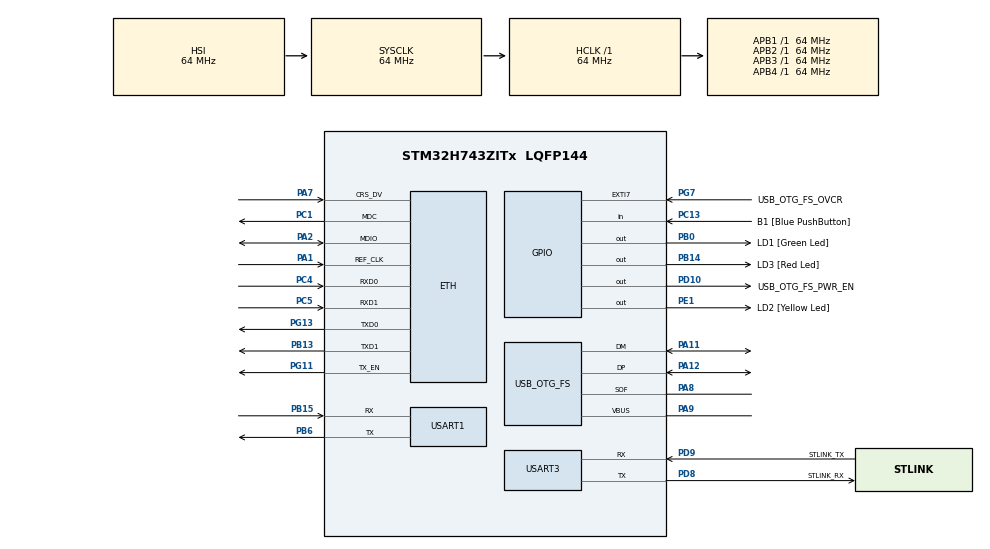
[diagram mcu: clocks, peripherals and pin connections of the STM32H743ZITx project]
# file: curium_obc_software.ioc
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Dma.Request0=USART1_RX
Dma.Request1=USART1_TX
Dma.USART1_RX.0.Direction=DMA_PERIPH_TO_MEMORY
Dma.USART1_RX.0.EventEnable=DISABLE
Dma.USART1_RX.0.FIFOMode=DMA_FIFOMODE_DISABLE
Dma.USART1_RX.0.Instance=DMA1_Stream0
Dma.USART1_RX.0.MemDataAlignment=DMA_MDATAALIGN_BYTE
Dma.USART1_RX.0.MemInc=DMA_MINC_ENABLE
Dma.USART1_RX.0.Mode=DMA_NORMAL
Dma.USART1_RX.0.PeriphDataAlignment=DMA_PDATAALIGN_BYTE
Dma.USART1_RX.0.PeriphInc=DMA_PINC_DISABLE
Dma.USART1_RX.0.Polarity=HAL_DMAMUX_REQ_GEN_RISING
Dma.USART1_RX.0.Priority=DMA_PRIORITY_LOW
Dma.USART1_RX.0.RequestNumber=1
Dma.USART1_RX.0.SignalID=NONE
Dma.USART1_RX.0.SyncEnable=DISABLE
Dma.USART1_RX.0.SyncPolarity=HAL_DMAMUX_SYNC_NO_EVENT
Dma.USART1_RX.0.SyncRequestNumber=1
Dma.USART1_RX.0.SyncSignalID=NONE
Dma.USART1_TX.1.Direction=DMA_MEMORY_TO_PERIPH
Dma.USART1_TX.1.EventEnable=DISABLE
Dma.USART1_TX.1.FIFOMode=DMA_FIFOMODE_DISABLE
Dma.USART1_TX.1.Instance=DMA1_Stream1
Dma.USART1_TX.1.MemDataAlignment=DMA_MDATAALIGN_BYTE
Dma.USART1_TX.1.MemInc=DMA_MINC_ENABLE
Dma.USART1_TX.1.Mode=DMA_NORMAL
Dma.USART1_TX.1.PeriphDataAlignment=DMA_PDATAALIGN_BYTE
Dma.USART1_TX.1.PeriphInc=DMA_PINC_DISABLE
Dma.USART1_TX.1.Polarity=HAL_DMAMUX_REQ_GEN_RISING
Dma.USART1_TX.1.Priority=DMA_PRIORITY_LOW
Dma.USART1_TX.1.RequestNumber=1
Dma.USART1_TX.1.SignalID=NONE
Dma.USART1_TX.1.SyncEnable=DISABLE
Dma.USART1_TX.1.SyncPolarity=HAL_DMAMUX_SYNC_NO_EVENT
Dma.USART1_TX.1.SyncRequestNumber=1
Dma.USART1_TX.1.SyncSignalID=NONE
ETH.MediaInterface=HAL_ETH_RMII_MODE
FREERTOS.Mutexes01=wdg_mtx,Static,wdg_mtx_ctrl_block
FREERTOS.Tasks01=defaultTask,24,128,StartDefaultTask,Default,NULL,Dynamic,NULL,NULL;blink_led1,47,128,Blink_led1_entry,Default,NULL,Dynamic,NULL,NULL;blink_led2,31,128,Blink_led2_entry,Default,NULL,Dynamic,NULL,NULL;wdg_task,10,128,start_wdg_task,Default,NULL,Static,wdg_task_buffer,wdg_task_ctrl_block;ecss_task,24,512,start_ecss_task,Default,NULL,Static,ecss_task_buffer,ecss_task_ctrl_block
FREERTOS.configUSE_NEWLIB_REENTRANT=1
IWDG1.Prescaler=IWDG_PRESCALER_256
Mcu.Family=STM32H7
Mcu.Name=STM32H743ZITx
Mcu.Package=LQFP144
NVIC.DMA1_Stream0_IRQn=true\:5\:0\:false\:false\:true\:true\:false\:true\:true
NVIC.DMA1_Stream1_IRQn=true\:5\:0\:false\:false\:true\:true\:false\:true\:true
NVIC.PriorityGroup=NVIC_PRIORITYGROUP_4
NVIC.TIM1_UP_IRQn=true\:15\:0\:false\:false\:true\:false\:false\:true\:true
NVIC.TimeBase=TIM1_UP_IRQn
NVIC.TimeBaseIP=TIM1
NVIC.USART1_IRQn=true\:5\:0\:false\:false\:true\:true\:true\:true\:true
PA1.Mode=RMII
PA1.Signal=ETH_REF_CLK
PA11.Mode=Device_Only
PA11.Signal=USB_OTG_FS_DM
PA12.Mode=Device_Only
PA12.Signal=USB_OTG_FS_DP
PA2.Mode=RMII
PA2.Signal=ETH_MDIO
PA7.Mode=RMII
PA7.Signal=ETH_CRS_DV
PA8.Mode=Activate_SOF_FS
PA8.Signal=USB_OTG_FS_SOF
PA9.Mode=Activate_VBUS
PA9.Signal=USB_OTG_FS_VBUS
PB0.GPIO_Label=LD1 [Green Led]
PB0.Signal=GPIO_Output
PB13.Mode=RMII
PB13.Signal=ETH_TXD1
PB14.GPIO_Label=LD3 [Red Led]
PB14.Signal=GPIO_Output
PB15.Mode=Asynchronous
PB15.Signal=USART1_RX
PB6.Mode=Asynchronous
PB6.Signal=USART1_TX
PC1.Mode=RMII
PC1.Signal=ETH_MDC
PC13.GPIO_Label=B1 [Blue PushButton]
PC13.Signal=GPIO_Input
PC14-OSC32_IN\ (OSC32_IN).Mode=LSE-External-Oscillator
PC14-OSC32_IN\ (OSC32_IN).Signal=RCC_OSC32_IN
PC15-OSC32_OUT\ (OSC32_OUT).Mode=LSE-External-Oscillator
PC15-OSC32_OUT\ (OSC32_OUT).Signal=RCC_OSC32_OUT
PC4.Mode=RMII
PC4.Signal=ETH_RXD0
PC5.Mode=RMII
PC5.Signal=ETH_RXD1
PD10.GPIO_Label=USB_OTG_FS_PWR_EN
PD10.Signal=GPIO_Output
PD8.GPIO_Label=STLINK_RX
PD8.Mode=Asynchronous
PD8.Signal=USART3_TX
PD9.GPIO_Label=STLINK_TX
PD9.Mode=Asynchronous
PD9.Signal=USART3_RX
PE1.GPIO_Label=LD2 [Yellow Led]
PE1.Signal=GPIO_Output
PG11.Mode=RMII
PG11.Signal=ETH_TX_EN
PG13.Mode=RMII
PG13.Signal=ETH_TXD0
PG7.GPIO_Label=USB_OTG_FS_OVCR
PG7.Signal=GPXTI7
PH0-OSC_IN\ (PH0).Mode=HSE-External-Clock-Source
PH0-OSC_IN\ (PH0).Signal=RCC_OSC_IN
PH1-OSC_OUT\ (PH1).Signal=RCC_OSC_OUT
ProjectManager.HeapSize=0x200
ProjectManager.StackSize=0x400
ProjectManager.TargetToolchain=STM32CubeIDE
RCC.ADCFreq_Value=16125000
RCC.APB1Freq_Value=64000000
RCC.APB2Freq_Value=64000000
RCC.APB3Freq_Value=64000000
RCC.APB4Freq_Value=64000000
RCC.CortexFreq_Value=64000000
RCC.DIVM1=1
RCC.DIVN1=24
RCC.DIVQ1=4
RCC.HCLKFreq_Value=64000000
RCC.HSE_VALUE=8000000
RCC.PLLFRACN=0
RCC.PWR_Regulator_Voltage_Scale=PWR_REGULATOR_VOLTAGE_SCALE2
RCC.SYSCLKFreq_VALUE=64000000
RCC.USBFreq_Value=48000000
USART1.VirtualMode-Asynchronous=VM_ASYNC
USART3.VirtualMode-Asynchronous=VM_ASYNC
USB_OTG_FS.VirtualMode=Device_Only
VP_FREERTOS_VS_CMSIS_V2.Mode=CMSIS_V2
VP_IWDG1_VS_IWDG.Mode=IWDG_Activate
VP_SYS_VS_tim1.Mode=TIM1
board=NUCLEO-H743ZI2

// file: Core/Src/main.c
/* USER CODE BEGIN Header */
/**
  ******************************************************************************
  * @file           : main.c
  * @brief          : Main program body
  ******************************************************************************
  * @attention
  *
  * Copyright (c) 2023 STMicroelectronics.
  * All rights reserved.
  *
  * This software is licensed under terms that can be found in the LICENSE file
  * in the root directory of this software component.
  * If no LICENSE file comes with this software, it is provided AS-IS.
  *
  ******************************************************************************
  */
/* USER CODE END Header */
#include "main.h"
#include "string.h"
#include "cmsis_os.h"

/* USER CODE BEGIN Includes */

#include "queue.h"
#include "conf.h"
#include "watchdog.h"
#include "error.h"
#include "communication.h"

/* USER CODE END Includes */

typedef StaticTask_t osStaticThreadDef_t;
typedef StaticSemaphore_t osStaticMutexDef_t;

#if defined ( __ICCARM__ ) /*!< IAR Compiler */
#pragma location=0x30000000
ETH_DMADescTypeDef  DMARxDscrTab[ETH_RX_DESC_CNT]; /* Ethernet Rx DMA Descriptors */
#pragma location=0x30000200
ETH_DMADescTypeDef  DMATxDscrTab[ETH_TX_DESC_CNT]; /* Ethernet Tx DMA Descriptors */

#elif defined ( __CC_ARM )  /* MDK ARM Compiler */

__attribute__((at(0x30000000))) ETH_DMADescTypeDef  DMARxDscrTab[ETH_RX_DESC_CNT]; /* Ethernet Rx DMA Descriptors */
__attribute__((at(0x30000200))) ETH_DMADescTypeDef  DMATxDscrTab[ETH_TX_DESC_CNT]; /* Ethernet Tx DMA Descriptors */

#elif defined ( __GNUC__ ) /* GNU Compiler */
ETH_DMADescTypeDef DMARxDscrTab[ETH_RX_DESC_CNT] __attribute__((section(".RxDecripSection"))); /* Ethernet Rx DMA Descriptors */
ETH_DMADescTypeDef DMATxDscrTab[ETH_TX_DESC_CNT] __attribute__((section(".TxDecripSection")));   /* Ethernet Tx DMA Descriptors */

#endif

ETH_TxPacketConfig TxConfig;

ETH_HandleTypeDef heth;

IWDG_HandleTypeDef hiwdg1;

UART_HandleTypeDef huart1;
UART_HandleTypeDef huart3;
DMA_HandleTypeDef hdma_usart1_rx;
DMA_HandleTypeDef hdma_usart1_tx;

PCD_HandleTypeDef hpcd_USB_OTG_FS;

/* Definitions for defaultTask */
osThreadId_t defaultTaskHandle;
const osThreadAttr_t defaultTask_attributes = {
  .name = "defaultTask",
  .stack_size = 128 * 4,
  .priority = (osPriority_t) osPriorityNormal,
};
/* Definitions for blink_led1 */
osThreadId_t blink_led1Handle;
const osThreadAttr_t blink_led1_attributes = {
  .name = "blink_led1",
  .stack_size = 128 * 4,
  .priority = (osPriority_t) osPriorityHigh7,
};
/* Definitions for blink_led2 */
osThreadId_t blink_led2Handle;
const osThreadAttr_t blink_led2_attributes = {
  .name = "blink_led2",
  .stack_size = 128 * 4,
  .priority = (osPriority_t) osPriorityNormal7,
};
/* Definitions for wdg_task */
osThreadId_t wdg_taskHandle;
uint32_t wdg_task_buffer[ 128 ];
osStaticThreadDef_t wdg_task_ctrl_block;
const osThreadAttr_t wdg_task_attributes = {
  .name = "wdg_task",
  .cb_mem = &wdg_task_ctrl_block,
  .cb_size = sizeof(wdg_task_ctrl_block),
  .stack_mem = &wdg_task_buffer[0],
  .stack_size = sizeof(wdg_task_buffer),
  .priority = (osPriority_t) osPriorityLow2,
};
/* Definitions for ecss_task */
osThreadId_t ecss_taskHandle;
uint32_t ecss_task_buffer[ 512 ];
osStaticThreadDef_t ecss_task_ctrl_block;
const osThreadAttr_t ecss_task_attributes = {
  .name = "ecss_task",
  .cb_mem = &ecss_task_ctrl_block,
  .cb_size = sizeof(ecss_task_ctrl_block),
  .stack_mem = &ecss_task_buffer[0],
  .stack_size = sizeof(ecss_task_buffer),
  .priority = (osPriority_t) osPriorityNormal,
};
/* Definitions for wdg_mtx */
osMutexId_t wdg_mtxHandle;
osStaticMutexDef_t wdg_mtx_ctrl_block;
const osMutexAttr_t wdg_mtx_attributes = {
  .name = "wdg_mtx",
  .cb_mem = &wdg_mtx_ctrl_block,
  .cb_size = sizeof(wdg_mtx_ctrl_block),
};
/* USER CODE BEGIN PV */

struct watchdog hwdg;
struct wdg_rec wdg_recorder;
/* Pointer to a region in SRAM2 where watchdog reset mask is stored*/
uint8_t *wdg_rst_ptr = (uint8_t *)0x10007800;

StaticQueue_t hdlc_queue_priv;
uint8_t hdlc_queue_pool[MAX_RX_FRAMES * sizeof(struct HDLC_Frame_Struct)];
QueueHandle_t hdlc_queue;
static HDLC_Frame_Struct currentFrame = {{0}, 0};
static uint16_t currentFrameIndex = 0;

/* USER CODE END PV */

void SystemClock_Config(void);
static void MX_GPIO_Init(void);
static void MX_DMA_Init(void);
static void MX_USART3_UART_Init(void);
static void MX_USB_OTG_FS_PCD_Init(void);
static void MX_IWDG1_Init(void);
static void MX_USART1_UART_Init(void);
static void MX_ETH_Init(void);
void StartDefaultTask(void *argument);
void Blink_led1_entry(void *argument);
void Blink_led2_entry(void *argument);
void start_wdg_task(void *argument);
void start_ecss_task(void *argument);

/* USER CODE BEGIN PFP */

void print_debug_msg(const char *msg);

/* USER CODE END PFP */

int main(void)
{

  /* MCU Configuration--------------------------------------------------------*/

  /* Reset of all peripherals, Initializes the Flash interface and the Systick. */
  HAL_Init();

  /* Configure the system clock */
  SystemClock_Config();

  /* Initialize all configured peripherals */
  MX_GPIO_Init();
  MX_DMA_Init();
  MX_USART3_UART_Init();
  MX_USB_OTG_FS_PCD_Init();
  MX_IWDG1_Init();
  MX_USART1_UART_Init();
  MX_ETH_Init();
  /* USER CODE BEGIN 2 */

  HAL_UART_Receive_DMA(&huart1, &currentFrame.data[currentFrameIndex], 1);

  /* USER CODE END 2 */

  /* Init scheduler */
  osKernelInitialize();
  /* Create the mutex(es) */
  /* creation of wdg_mtx */
  wdg_mtxHandle = osMutexNew(&wdg_mtx_attributes);

  /* USER CODE BEGIN RTOS_QUEUES */
    hdlc_queue = xQueueCreateStatic(MAX_RX_FRAMES,
                                  sizeof(struct HDLC_Frame_Struct),
                                  hdlc_queue_pool,
                                  &hdlc_queue_priv);
    configASSERT(hdlc_queue);

  /* USER CODE END RTOS_QUEUES */

  /* Create the thread(s) */
  /* creation of defaultTask */
  defaultTaskHandle = osThreadNew(StartDefaultTask, NULL, &defaultTask_attributes);

  /* creation of blink_led1 */
  blink_led1Handle = osThreadNew(Blink_led1_entry, NULL, &blink_led1_attributes);

  /* creation of blink_led2 */
  blink_led2Handle = osThreadNew(Blink_led2_entry, NULL, &blink_led2_attributes);

  /* creation of wdg_task */
  wdg_taskHandle = osThreadNew(start_wdg_task, NULL, &wdg_task_attributes);

  /* creation of ecss_task */
  ecss_taskHandle = osThreadNew(start_ecss_task, NULL, &ecss_task_attributes);

  /* USER CODE BEGIN RTOS_THREADS */

  int ret = watchdog_init(&hwdg, &hiwdg1, wdg_mtxHandle, 9, &wdg_recorder,
							wdg_rst_ptr);
  if (ret) {
	  Error_Handler();
  }

  /* USER CODE END RTOS_THREADS */

  /* Start scheduler */
  osKernelStart();

  /* We should never get here as control is now taken by the scheduler */
  /* Infinite loop */
  while (1)
  {

  }
}

void SystemClock_Config(void)
{
  RCC_OscInitTypeDef RCC_OscInitStruct = {0};
  RCC_ClkInitTypeDef RCC_ClkInitStruct = {0};

  /** Supply configuration update enable
  */
  HAL_PWREx_ConfigSupply(PWR_LDO_SUPPLY);

  /** Configure the main internal regulator output voltage
  */
  __HAL_PWR_VOLTAGESCALING_CONFIG(PWR_REGULATOR_VOLTAGE_SCALE2);

  while(!__HAL_PWR_GET_FLAG(PWR_FLAG_VOSRDY)) {}

  /** Initializes the RCC Oscillators according to the specified parameters
  * in the RCC_OscInitTypeDef structure.
  */
  RCC_OscInitStruct.OscillatorType = RCC_OSCILLATORTYPE_HSI|RCC_OSCILLATORTYPE_LSI
                              |RCC_OSCILLATORTYPE_HSE;
  RCC_OscInitStruct.HSEState = RCC_HSE_BYPASS;
  RCC_OscInitStruct.HSIState = RCC_HSI_DIV1;
  RCC_OscInitStruct.HSICalibrationValue = RCC_HSICALIBRATION_DEFAULT;
  RCC_OscInitStruct.LSIState = RCC_LSI_ON;
  RCC_OscInitStruct.PLL.PLLState = RCC_PLL_ON;
  RCC_OscInitStruct.PLL.PLLSource = RCC_PLLSOURCE_HSE;
  RCC_OscInitStruct.PLL.PLLM = 1;
  RCC_OscInitStruct.PLL.PLLN = 24;
  RCC_OscInitStruct.PLL.PLLP = 2;
  RCC_OscInitStruct.PLL.PLLQ = 4;
  RCC_OscInitStruct.PLL.PLLR = 2;
  RCC_OscInitStruct.PLL.PLLRGE = RCC_PLL1VCIRANGE_3;
  RCC_OscInitStruct.PLL.PLLVCOSEL = RCC_PLL1VCOWIDE;
  RCC_OscInitStruct.PLL.PLLFRACN = 0;
  if (HAL_RCC_OscConfig(&RCC_OscInitStruct) != HAL_OK)
  {
    Error_Handler();
  }

  /** Initializes the CPU, AHB and APB buses clocks
  */
  RCC_ClkInitStruct.ClockType = RCC_CLOCKTYPE_HCLK|RCC_CLOCKTYPE_SYSCLK
                              |RCC_CLOCKTYPE_PCLK1|RCC_CLOCKTYPE_PCLK2
                              |RCC_CLOCKTYPE_D3PCLK1|RCC_CLOCKTYPE_D1PCLK1;
  RCC_ClkInitStruct.SYSCLKSource = RCC_SYSCLKSOURCE_HSI;
  RCC_ClkInitStruct.SYSCLKDivider = RCC_SYSCLK_DIV1;
  RCC_ClkInitStruct.AHBCLKDivider = RCC_HCLK_DIV1;
  RCC_ClkInitStruct.APB3CLKDivider = RCC_APB3_DIV1;
  RCC_ClkInitStruct.APB1CLKDivider = RCC_APB1_DIV1;
  RCC_ClkInitStruct.APB2CLKDivider = RCC_APB2_DIV1;
  RCC_ClkInitStruct.APB4CLKDivider = RCC_APB4_DIV1;

  if (HAL_RCC_ClockConfig(&RCC_ClkInitStruct, FLASH_LATENCY_1) != HAL_OK)
  {
    Error_Handler();
  }
}

static void MX_ETH_Init(void)
{

   static uint8_t MACAddr[6];

  heth.Instance = ETH;
  MACAddr[0] = 0x00;
  MACAddr[1] = 0x80;
  MACAddr[2] = 0xE1;
  MACAddr[3] = 0x00;
  MACAddr[4] = 0x00;
  MACAddr[5] = 0x00;
  heth.Init.MACAddr = &MACAddr[0];
  heth.Init.MediaInterface = HAL_ETH_RMII_MODE;
  heth.Init.TxDesc = DMATxDscrTab;
  heth.Init.RxDesc = DMARxDscrTab;
  heth.Init.RxBuffLen = 1524;

  if (HAL_ETH_Init(&heth) != HAL_OK)
  {
    Error_Handler();
  }

  memset(&TxConfig, 0 , sizeof(ETH_TxPacketConfig));
  TxConfig.Attributes = ETH_TX_PACKETS_FEATURES_CSUM | ETH_TX_PACKETS_FEATURES_CRCPAD;
  TxConfig.ChecksumCtrl = ETH_CHECKSUM_IPHDR_PAYLOAD_INSERT_PHDR_CALC;
  TxConfig.CRCPadCtrl = ETH_CRC_PAD_INSERT;

}

static void MX_IWDG1_Init(void)
{

  hiwdg1.Instance = IWDG1;
  hiwdg1.Init.Prescaler = IWDG_PRESCALER_256;
  hiwdg1.Init.Window = 4095;
  hiwdg1.Init.Reload = 4095;
  if (HAL_IWDG_Init(&hiwdg1) != HAL_OK)
  {
    Error_Handler();
  }

}

static void MX_USART1_UART_Init(void)
{

  huart1.Instance = USART1;
  huart1.Init.BaudRate = 115200;
  huart1.Init.WordLength = UART_WORDLENGTH_8B;
  huart1.Init.StopBits = UART_STOPBITS_1;
  huart1.Init.Parity = UART_PARITY_NONE;
  huart1.Init.Mode = UART_MODE_TX_RX;
  huart1.Init.HwFlowCtl = UART_HWCONTROL_NONE;
  huart1.Init.OverSampling = UART_OVERSAMPLING_16;
  huart1.Init.OneBitSampling = UART_ONE_BIT_SAMPLE_DISABLE;
  huart1.Init.ClockPrescaler = UART_PRESCALER_DIV1;
  huart1.AdvancedInit.AdvFeatureInit = UART_ADVFEATURE_NO_INIT;
  if (HAL_UART_Init(&huart1) != HAL_OK)
  {
    Error_Handler();
  }
  if (HAL_UARTEx_SetTxFifoThreshold(&huart1, UART_TXFIFO_THRESHOLD_1_8) != HAL_OK)
  {
    Error_Handler();
  }
  if (HAL_UARTEx_SetRxFifoThreshold(&huart1, UART_RXFIFO_THRESHOLD_1_8) != HAL_OK)
  {
    Error_Handler();
  }
  if (HAL_UARTEx_DisableFifoMode(&huart1) != HAL_OK)
  {
    Error_Handler();
  }

}

static void MX_USART3_UART_Init(void)
{

  huart3.Instance = USART3;
  huart3.Init.BaudRate = 115200;
  huart3.Init.WordLength = UART_WORDLENGTH_8B;
  huart3.Init.StopBits = UART_STOPBITS_1;
  huart3.Init.Parity = UART_PARITY_NONE;
  huart3.Init.Mode = UART_MODE_TX_RX;
  huart3.Init.HwFlowCtl = UART_HWCONTROL_NONE;
  huart3.Init.OverSampling = UART_OVERSAMPLING_16;
  huart3.Init.OneBitSampling = UART_ONE_BIT_SAMPLE_DISABLE;
  huart3.Init.ClockPrescaler = UART_PRESCALER_DIV1;
  huart3.AdvancedInit.AdvFeatureInit = UART_ADVFEATURE_NO_INIT;
  if (HAL_UART_Init(&huart3) != HAL_OK)
  {
    Error_Handler();
  }
  if (HAL_UARTEx_SetTxFifoThreshold(&huart3, UART_TXFIFO_THRESHOLD_1_8) != HAL_OK)
  {
    Error_Handler();
  }
  if (HAL_UARTEx_SetRxFifoThreshold(&huart3, UART_RXFIFO_THRESHOLD_1_8) != HAL_OK)
  {
    Error_Handler();
  }
  if (HAL_UARTEx_DisableFifoMode(&huart3) != HAL_OK)
  {
    Error_Handler();
  }

}

static void MX_USB_OTG_FS_PCD_Init(void)
{

  hpcd_USB_OTG_FS.Instance = USB_OTG_FS;
  hpcd_USB_OTG_FS.Init.dev_endpoints = 9;
  hpcd_USB_OTG_FS.Init.speed = PCD_SPEED_FULL;
  hpcd_USB_OTG_FS.Init.dma_enable = DISABLE;
  hpcd_USB_OTG_FS.Init.phy_itface = PCD_PHY_EMBEDDED;
  hpcd_USB_OTG_FS.Init.Sof_enable = ENABLE;
  hpcd_USB_OTG_FS.Init.low_power_enable = DISABLE;
  hpcd_USB_OTG_FS.Init.lpm_enable = DISABLE;
  hpcd_USB_OTG_FS.Init.battery_charging_enable = ENABLE;
  hpcd_USB_OTG_FS.Init.vbus_sensing_enable = ENABLE;
  hpcd_USB_OTG_FS.Init.use_dedicated_ep1 = DISABLE;
  if (HAL_PCD_Init(&hpcd_USB_OTG_FS) != HAL_OK)
  {
    Error_Handler();
  }

}

static void MX_DMA_Init(void)
{

  /* DMA controller clock enable */
  __HAL_RCC_DMA1_CLK_ENABLE();

  /* DMA interrupt init */
  /* DMA1_Stream0_IRQn interrupt configuration */
  HAL_NVIC_SetPriority(DMA1_Stream0_IRQn, 5, 0);
  HAL_NVIC_EnableIRQ(DMA1_Stream0_IRQn);
  /* DMA1_Stream1_IRQn interrupt configuration */
  HAL_NVIC_SetPriority(DMA1_Stream1_IRQn, 5, 0);
  HAL_NVIC_EnableIRQ(DMA1_Stream1_IRQn);

}

static void MX_GPIO_Init(void)
{
  GPIO_InitTypeDef GPIO_InitStruct = {0};

  /* GPIO Ports Clock Enable */
  __HAL_RCC_GPIOC_CLK_ENABLE();
  __HAL_RCC_GPIOH_CLK_ENABLE();
  __HAL_RCC_GPIOA_CLK_ENABLE();
  __HAL_RCC_GPIOB_CLK_ENABLE();
  __HAL_RCC_GPIOD_CLK_ENABLE();
  __HAL_RCC_GPIOG_CLK_ENABLE();
  __HAL_RCC_GPIOE_CLK_ENABLE();

  /*Configure GPIO pin Output Level */
  HAL_GPIO_WritePin(GPIOB, LD1_Pin|LD3_Pin, GPIO_PIN_RESET);

  /*Configure GPIO pin Output Level */
  HAL_GPIO_WritePin(USB_OTG_FS_PWR_EN_GPIO_Port, USB_OTG_FS_PWR_EN_Pin, GPIO_PIN_RESET);

  /*Configure GPIO pin Output Level */
  HAL_GPIO_WritePin(LD2_GPIO_Port, LD2_Pin, GPIO_PIN_RESET);

  /*Configure GPIO pin : B1_Pin */
  GPIO_InitStruct.Pin = B1_Pin;
  GPIO_InitStruct.Mode = GPIO_MODE_INPUT;
  GPIO_InitStruct.Pull = GPIO_NOPULL;
  HAL_GPIO_Init(B1_GPIO_Port, &GPIO_InitStruct);

  /*Configure GPIO pins : LD1_Pin LD3_Pin */
  GPIO_InitStruct.Pin = LD1_Pin|LD3_Pin;
  GPIO_InitStruct.Mode = GPIO_MODE_OUTPUT_PP;
  GPIO_InitStruct.Pull = GPIO_NOPULL;
  GPIO_InitStruct.Speed = GPIO_SPEED_FREQ_LOW;
  HAL_GPIO_Init(GPIOB, &GPIO_InitStruct);

  /*Configure GPIO pin : USB_OTG_FS_PWR_EN_Pin */
  GPIO_InitStruct.Pin = USB_OTG_FS_PWR_EN_Pin;
  GPIO_InitStruct.Mode = GPIO_MODE_OUTPUT_PP;
  GPIO_InitStruct.Pull = GPIO_NOPULL;
  GPIO_InitStruct.Speed = GPIO_SPEED_FREQ_LOW;
  HAL_GPIO_Init(USB_OTG_FS_PWR_EN_GPIO_Port, &GPIO_InitStruct);

  /*Configure GPIO pin : USB_OTG_FS_OVCR_Pin */
  GPIO_InitStruct.Pin = USB_OTG_FS_OVCR_Pin;
  GPIO_InitStruct.Mode = GPIO_MODE_IT_RISING;
  GPIO_InitStruct.Pull = GPIO_NOPULL;
  HAL_GPIO_Init(USB_OTG_FS_OVCR_GPIO_Port, &GPIO_InitStruct);

  /*Configure GPIO pin : LD2_Pin */
  GPIO_InitStruct.Pin = LD2_Pin;
  GPIO_InitStruct.Mode = GPIO_MODE_OUTPUT_PP;
  GPIO_InitStruct.Pull = GPIO_NOPULL;
  GPIO_InitStruct.Speed = GPIO_SPEED_FREQ_LOW;
  HAL_GPIO_Init(LD2_GPIO_Port, &GPIO_InitStruct);

}

/* USER CODE BEGIN 4 */

void print_debug_msg(const char *msg) {
    if (msg != NULL) {
        HAL_UART_Transmit_DMA(&huart1, (uint8_t *) msg, strlen(msg));
    }
}

/* USER CODE END 4 */

void StartDefaultTask(void *argument)
{
  /* USER CODE BEGIN 5 */
	uint8_t wdgid;
	int ret = watchdog_register(&hwdg, &wdgid, "default");

	if (ret != NO_ERROR) {
		Error_Handler();
	}

	while (1) {
		watchdog_reset_subsystem(&hwdg, wdgid);
		osDelay(10000);
	}

  /* USER CODE END 5 */
}

void Blink_led1_entry(void *argument)
{
  /* USER CODE BEGIN Blink_led1_entry */
  /* Infinite loop */
  for(;;)
  {
    osDelay(500);
    HAL_GPIO_TogglePin(GPIOE, GPIO_PIN_1); // Replace GPIOA and GPIO_PIN_5 with your LED's GPIO Port and Pin

  }
  /* USER CODE END Blink_led1_entry */
}

void Blink_led2_entry(void *argument)
{
  /* USER CODE BEGIN Blink_led2_entry */
  /* Infinite loop */
  for(;;)
  {
    osDelay(500);
    HAL_GPIO_TogglePin(GPIOE, GPIO_PIN_2); // Replace GPIOA and GPIO_PIN_5 with your LED's GPIO Port and Pin

  }
  /* USER CODE END Blink_led2_entry */
}

void start_wdg_task(void *argument)
{
  /* USER CODE BEGIN start_wdg_task */
  /* Infinite loop */
  for(;;)
  {
		watchdog_reset(&hwdg);
		osDelay(WDG_TASK_DELAY_MS);
  }
  /* USER CODE END start_wdg_task */
}

void start_ecss_task(void *argument)
{
  /* USER CODE BEGIN start_ecss_task */
	HDLC_Frame_Struct hdlcFrame;

	uint8_t wdgid;
	int ret = watchdog_register(&hwdg, &wdgid, "ecss");

	if (ret != NO_ERROR) {
		Error_Handler();
	}

	 print_debug_msg("Starting ECSS thread!\n");

  /* Infinite loop */
  for(;;)
  {
	watchdog_reset_subsystem(&hwdg, wdgid);
    if (xQueueReceive(hdlc_queue, &hdlcFrame, pdMS_TO_TICKS(5000)) == pdPASS) {
        // Process the received HDLC frame
        uint8_t destuffed_data[HLDC_BUFFER_SIZE];
        uint16_t destuffed_length = 0;
        destuff_hdlc_frame(&hdlcFrame, destuffed_data, &destuffed_length);
        encode_hldc_frame(destuffed_data, destuffed_length, &hdlcFrame);
        HAL_UART_Transmit_DMA(&huart1, hdlcFrame.data, hdlcFrame.length);
    }
  }
  /* USER CODE END start_ecss_task */
}

void HAL_TIM_PeriodElapsedCallback(TIM_HandleTypeDef *htim)
{
  if (htim->Instance == TIM1) {
    HAL_IncTick();
  }
}

void Error_Handler(void)
{
  __disable_irq();
  while (1)
  {
  }
}

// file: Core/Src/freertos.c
/* USER CODE BEGIN Header */
/**
  ******************************************************************************
  * File Name          : freertos.c
  * Description        : Code for freertos applications
  ******************************************************************************
  * @attention
  *
  * Copyright (c) 2023 STMicroelectronics.
  * All rights reserved.
  *
  * This software is licensed under terms that can be found in the LICENSE file
  * in the root directory of this software component.
  * If no LICENSE file comes with this software, it is provided AS-IS.
  *
  ******************************************************************************
  */
/* USER CODE END Header */

#include "FreeRTOS.h"
#include "task.h"
#include "main.h"

/* GetIdleTaskMemory prototype (linked to static allocation support) */
void vApplicationGetIdleTaskMemory( StaticTask_t **ppxIdleTaskTCBBuffer, StackType_t **ppxIdleTaskStackBuffer, uint32_t *pulIdleTaskStackSize );

/* Hook prototypes */
void vApplicationIdleHook(void);
void vApplicationStackOverflowHook(xTaskHandle xTask, signed char *pcTaskName);

/* USER CODE BEGIN 2 */
__weak void vApplicationIdleHook( void )
{
   /* vApplicationIdleHook() will only be called if configUSE_IDLE_HOOK is set
   to 1 in FreeRTOSConfig.h. It will be called on each iteration of the idle
   task. It is essential that code added to this hook function never attempts
   to block in any way (for example, call xQueueReceive() with a block time
   specified, or call vTaskDelay()). If the application makes use of the
   vTaskDelete() API function (as this demo application does) then it is also
   important that vApplicationIdleHook() is permitted to return to its calling
   function, because it is the responsibility of the idle task to clean up
   memory allocated by the kernel to any task that has since been deleted. */
}
/* USER CODE END 2 */

/* USER CODE BEGIN 4 */
__weak void vApplicationStackOverflowHook(xTaskHandle xTask, signed char *pcTaskName)
{
   /* Run time stack overflow checking is performed if
   configCHECK_FOR_STACK_OVERFLOW is defined to 1 or 2. This hook function is
   called if a stack overflow is detected. */
}
/* USER CODE END 4 */

/* USER CODE BEGIN GET_IDLE_TASK_MEMORY */
static StaticTask_t xIdleTaskTCBBuffer;
static StackType_t xIdleStack[configMINIMAL_STACK_SIZE];

void vApplicationGetIdleTaskMemory( StaticTask_t **ppxIdleTaskTCBBuffer, StackType_t **ppxIdleTaskStackBuffer, uint32_t *pulIdleTaskStackSize )
{
  *ppxIdleTaskTCBBuffer = &xIdleTaskTCBBuffer;
  *ppxIdleTaskStackBuffer = &xIdleStack[0];
  *pulIdleTaskStackSize = configMINIMAL_STACK_SIZE;
  /* place for user code */
}
/* USER CODE END GET_IDLE_TASK_MEMORY */
